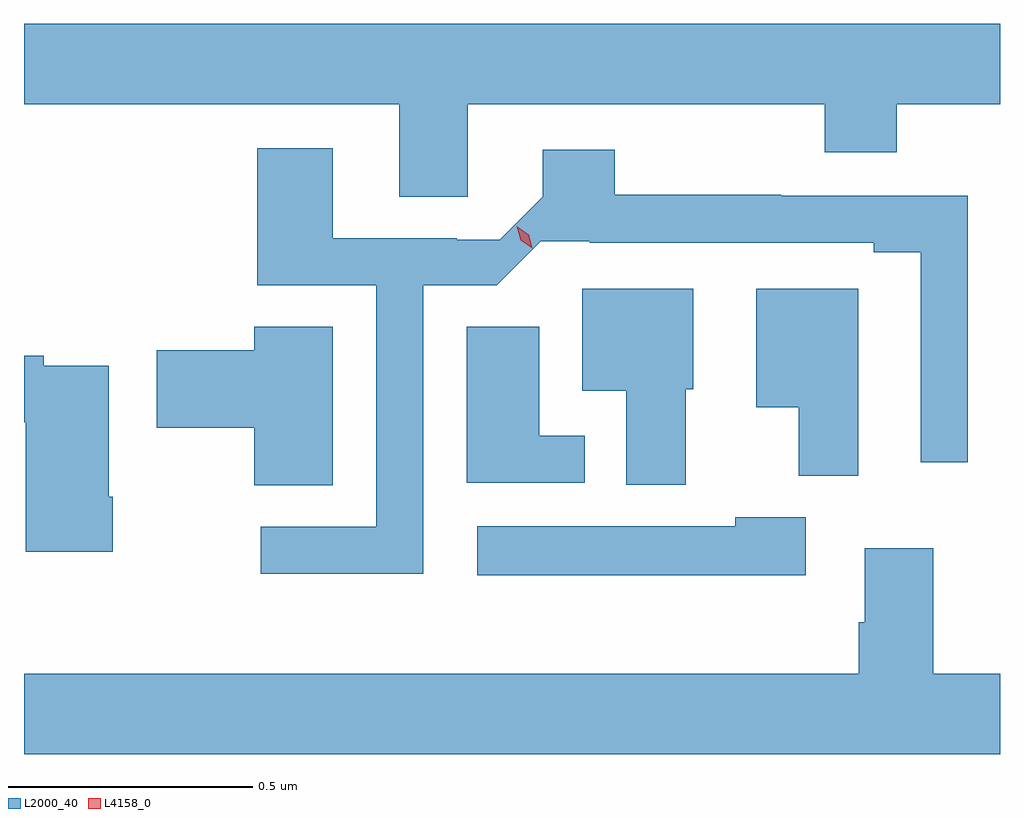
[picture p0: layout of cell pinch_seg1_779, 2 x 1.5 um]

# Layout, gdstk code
import gdstk
lib = gdstk.Library(unit=1e-6, precision=1e-09)
def P(c, l, *ps):  # polygons
    for p in ps: c.add(gdstk.Polygon(p, *l))
L2000_40 = (2000, 40)
L4158_0 = (4158, 0)

pinch_seg1_779 = lib.new_cell('pinch_seg1_779')
P(pinch_seg1_779, L2000_40, [(841.783,522.428),(842.515,522.428),(842.515,522.329),(842.662,522.329),(842.662,522.428),(842.874,522.428),(842.874,522.592),(840.874,522.592),(840.874,522.428),(841.643,522.428),(841.643,522.238),(841.783,522.238)],
  [(841.692,522.057),(841.843,522.057),(841.933,522.147),(842.033,522.147),(842.033,522.144),(842.615,522.144),(842.615,522.124),(842.712,522.124),(842.712,521.694),(842.808,521.694),(842.808,522.24),(842.426,522.24),(842.426,522.242),(842.085,522.242),(842.085,522.334),(841.937,522.334),(841.937,522.238),(841.849,522.15),(841.761,522.15),(841.761,522.153),(841.507,522.153),(841.507,522.337),(841.352,522.337),(841.352,522.057),(841.596,522.057),(841.596,521.562),(841.359,521.562),(841.359,521.465),(841.692,521.465)],
  [(842.584,522.049),(842.375,522.049),(842.375,521.807),(842.462,521.807),(842.462,521.666),(842.584,521.666)],
  [(842.23,521.844),(842.245,521.844),(842.245,522.049),(842.018,522.049),(842.018,521.84),(842.108,521.84),(842.108,521.648),(842.23,521.648)],
  [(842.023,521.748),(841.93,521.748),(841.93,521.972),(841.781,521.972),(841.781,521.652),(842.023,521.652)],
  [(841.507,521.972),(841.346,521.972),(841.346,521.923),(841.146,521.923),(841.146,521.765),(841.346,521.765),(841.346,521.647),(841.507,521.647)],
  [(841.056,521.623),(841.048,521.623),(841.048,521.892),(840.914,521.892),(840.914,521.912),(840.874,521.912),(840.874,521.776),(840.878,521.776),(840.878,521.511),(841.056,521.511)],
  [(842.476,521.581),(842.331,521.581),(842.331,521.563),(841.803,521.563),(841.803,521.462),(842.476,521.462)],
  [(842.874,521.26),(842.737,521.26),(842.737,521.518),(842.597,521.518),(842.597,521.366),(842.585,521.366),(842.585,521.26),(840.874,521.26),(840.874,521.096),(842.874,521.096)])
P(pinch_seg1_779, L4158_0, [(841.916,522.132),(841.892,522.149),(841.884,522.177),(841.884,522.178),(841.884,522.178),(841.908,522.16),(841.916,522.132),(841.916,522.132)])

lib.write_gds('pinch_seg1_779.gds')
